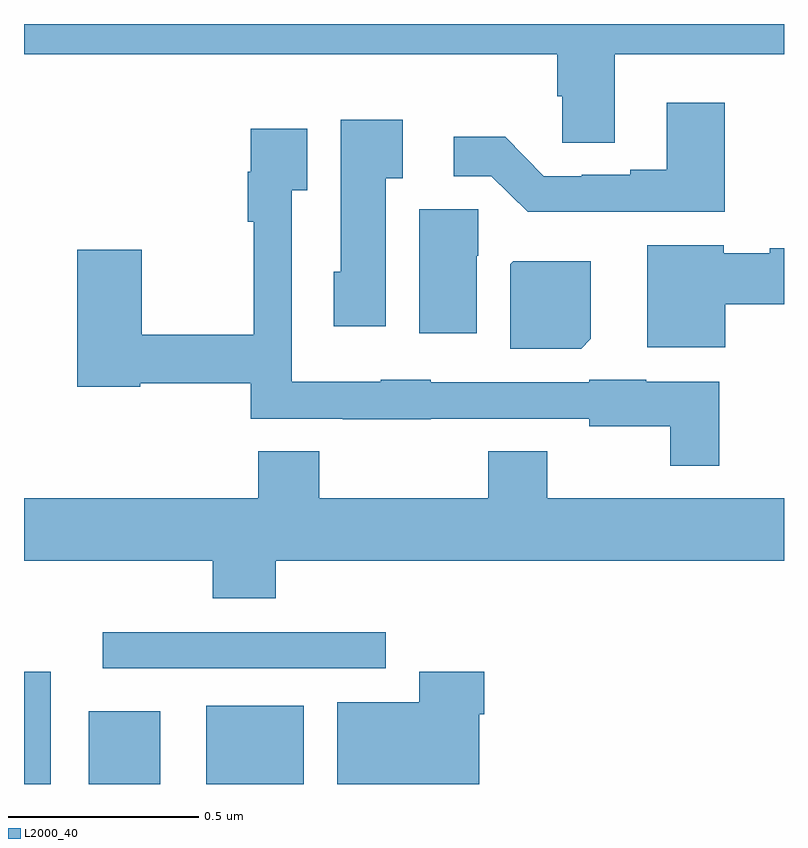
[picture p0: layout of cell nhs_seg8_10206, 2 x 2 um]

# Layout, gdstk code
import gdstk
lib = gdstk.Library(unit=1e-6, precision=1e-09)
def R(c, l, rs):  # rectangles x0, y0, x1, y1
    for r in rs: c.add(gdstk.rectangle(r[:2], r[2:], *l))
def P(c, l, *ps):  # polygons
    for p in ps: c.add(gdstk.Polygon(p, *l))
L2000_40 = (2000, 40)

nhs_seg8_10206 = lib.new_cell('nhs_seg8_10206')
R(nhs_seg8_10206, L2000_40, [(246,1127.9,246.07,1128.196), (246.17,1127.9,246.358,1128.091), (246.479,1127.9,246.736,1128.106), (246.207,1128.204,246.952,1128.3)])
P(nhs_seg8_10206, L2000_40, [(247.555,1129.82),(248,1129.82),(248,1129.9),(246,1129.9),(246,1129.82),(247.403,1129.82),(247.403,1129.71),(247.416,1129.71),(247.416,1129.588),(247.555,1129.588)],
  [(247.844,1129.693),(247.691,1129.693),(247.691,1129.516),(247.595,1129.516),(247.595,1129.503),(247.468,1129.503),(247.468,1129.5),(247.368,1129.5),(247.266,1129.603),(247.131,1129.603),(247.131,1129.5),(247.23,1129.5),(247.325,1129.406),(247.844,1129.406)],
  [(246.952,1129.494),(246.997,1129.494),(246.997,1129.648),(246.833,1129.648),(246.833,1129.248),(246.815,1129.248),(246.815,1129.104),(246.952,1129.104)],
  [(247.829,1128.958),(247.638,1128.958),(247.638,1128.964),(247.488,1128.964),(247.488,1128.957),(247.071,1128.957),(247.071,1128.964),(246.939,1128.964),(246.939,1128.958),(246.705,1128.958),(246.705,1129.463),(246.745,1129.463),(246.745,1129.624),(246.597,1129.624),(246.597,1129.511),(246.589,1129.511),(246.589,1129.379),(246.604,1129.379),(246.604,1129.082),(246.31,1129.082),(246.31,1129.306),(246.14,1129.306),(246.14,1128.946),(246.306,1128.946),(246.306,1128.954),(246.597,1128.954),(246.597,1128.861),(246.839,1128.861),(246.839,1128.86),(247.071,1128.86),(247.071,1128.861),(247.488,1128.861),(247.488,1128.842),(247.701,1128.842),(247.701,1128.737),(247.829,1128.737)],
  [(247.192,1129.29),(247.196,1129.29),(247.196,1129.413),(247.04,1129.413),(247.04,1129.086),(247.192,1129.086)],
  [(247.846,1129.163),(248,1129.163),(248,1129.31),(247.962,1129.31),(247.962,1129.297),(247.842,1129.297),(247.842,1129.318),(247.64,1129.318),(247.64,1129.049),(247.846,1129.049)],
  [(247.492,1129.072),(247.492,1129.276),(247.288,1129.276),(247.28,1129.268),(247.28,1129.046),(247.466,1129.046)],
  [(246.662,1128.488),(248,1128.488),(248,1128.652),(247.377,1128.652),(247.377,1128.776),(247.222,1128.776),(247.222,1128.652),(246.777,1128.652),(246.777,1128.776),(246.617,1128.776),(246.617,1128.652),(246,1128.652),(246,1128.488),(246.497,1128.488),(246.497,1128.389),(246.662,1128.389)],
  [(247.198,1128.083),(247.211,1128.083),(247.211,1128.196),(247.04,1128.196),(247.04,1128.115),(246.824,1128.115),(246.824,1127.9),(247.198,1127.9)])

lib.write_gds('nhs_seg8_10206.gds')
